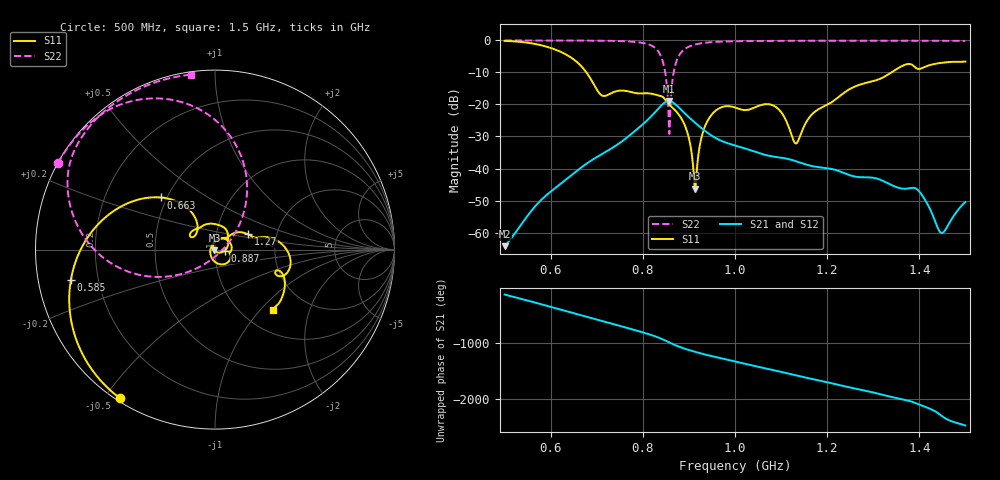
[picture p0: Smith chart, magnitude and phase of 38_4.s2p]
! TOUCHSTONE file generated by CST MICROWAVE STUDIO
! Date and time: Fri Oct  2 17:00:50 2020
! Project name: Scenario_1_Free_Space_out_of_line.cst
! Parameters = {Lambda=346.42; Step_1=17.321; dy1=-293.977; dx1=693; L_HA=400; MT=2.54; Rad_Dielectric=30; Rad_Lower=7.3; Rad_Upper=30; a_HA=580; a_WG=246; b_HA=500; b_WG=121; c_HA=0; c_WG=187; d_feed=85; h_feed=15; h_lower=18; h_upper=40}
! Header version: 2018
! Port assignment regex: !\s*Touchstone port\s*([0-9]+)\s*=\s*(CST MWS port|CST DS port)\s*([0-9]+|Zmin|Zmax)\s*\(\"(.*)\"\)(\s*mode\s*([0-9]+))?.*
! Touchstone port assignment:
! Touchstone port 1 = CST MWS port 1 ("")
! Touchstone port 2 = CST MWS port 2 ("")
# GHz S DB R 50
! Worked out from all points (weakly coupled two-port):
!   1003 points, 500 MHz to 1.5 GHz, reference 50 ohm
!   highest |S21| = -18.94 dB at 856 MHz (marker M1); lowest = -64.3 dB at 500 MHz (marker M2)
!   lowest |S11| = -46.3 dB at 913 MHz (marker M3), VSWR 1.01, Z = 49.7 - j0.368 ohm
!   |S11| at or under -10 dB: 677.6 MHz to 1.339 GHz (661.7 MHz wide, 65.6 % of centre)
!   |S22| runs from -29.2 to 0.0 dB; largest |S21 - S12| = 2.6e-06
!   S11 on the Smith chart (normalised r, x): 500 MHz: 0.01, -0.55; 585 MHz: 0.10, -0.10; 663 MHz: 0.46, +0.33; 887 MHz: 1.11, -0.01; 1.27 GHz: 1.42, +0.25; 1.5 GHz: 1.37, -1.18
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0.5  -0.15 -122.6  -64.25 -132.9  -64.25 -132.9  -0.01 151.2
0.585  -1.71 -168.0  -49.06 40.6  -49.06 40.6  -0.02 145.3
0.663  -7.54 136.2  -40.05 -134.9  -40.05 -134.9  -0.04 138.7
0.667  -8.14 133.2  -39.61 -144.2  -39.61 -144.2  -0.04 138.3
0.713  -17.29 139.9  -35.34 109.5  -35.34 109.5  -0.09 133.2
0.789  -16.52 126.7  -27.55 -60.7  -27.55 -60.7  -0.55 117.2
0.834  -17.17 81.1  -21.23 -179.5  -21.23 -179.5  -3.52 84.8
0.847  -18.20 57.3  -19.44 135.3  -19.44 135.3  -8.75 60.7
0.856  -19.84 44.3  -18.94 100.0  -18.94 100.0  -24.14 17.4
0.869  -21.65 26.0  -19.75 50.3  -19.75 50.3  -8.53 -156.1
0.887  -25.26 -6.4  -22.22 -6.4  -22.22 -6.4  -3.16 178.0
0.913  -46.33 -129.8  -25.66 -72.6  -25.66 -72.6  -1.30 160.9
0.942  -24.71 76.1  -29.01 -135.2  -29.01 -135.2  -0.62 151.1
1  -20.94 -3.8  -32.80 115.9  -32.80 115.9  -0.26 140.2
1.086  -20.53 -60.2  -36.33 -44.3  -36.33 -44.3  -0.13 130.9
1.132  -32.20 166.2  -37.71 -132.6  -37.71 -132.6  -0.11 127.0
1.167  -23.08 62.3  -39.22 164.4  -39.22 164.4  -0.09 124.2
1.27  -13.85 24.9  -42.70 -21.6  -42.70 -21.6  -0.08 116.3
1.334  -10.49 13.3  -44.77 -146.8  -44.77 -146.8  -0.09 111.5
1.397  -8.89 -21.0  -46.72 76.2  -46.72 76.2  -0.10 106.6
1.448  -7.00 -30.2  -60.15 -131.0  -60.15 -131.1  -0.12 102.4
1.5  -6.60 -46.2  -50.45 54.8  -50.46 54.8  -0.14 97.9
